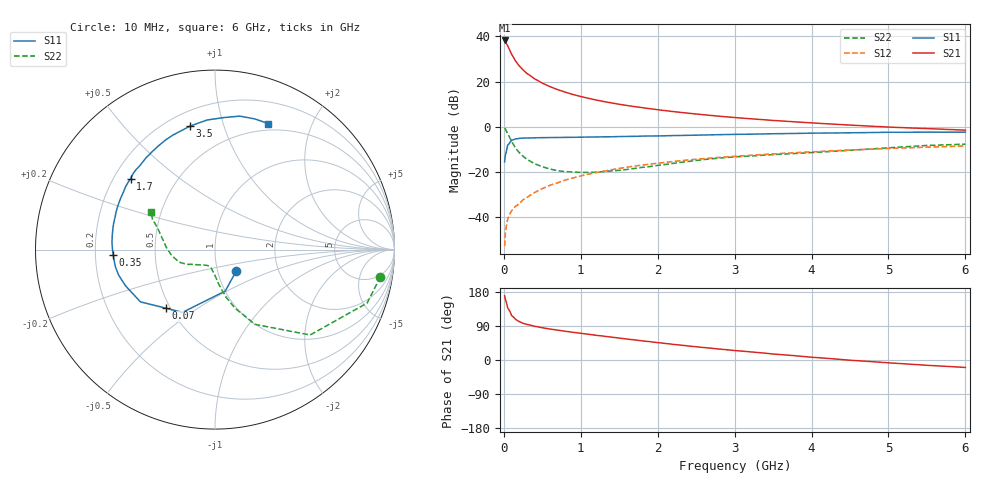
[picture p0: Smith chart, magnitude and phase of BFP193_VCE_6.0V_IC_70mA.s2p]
! (c) 2017  Infineon Technologies AG, Munich
! Infineon Technologies  Discrete & RF Semiconductors
! BFP193
! VCE =  6.0 V,  IC =  70 mA
! Common Emitter S-Parameters:  Jan 2017
# GHz  S  MA  R  50
!  f  S11  S21  S12  S22
! GHz  MAG  ANG  MAG  ANG  MAG  ANG  MAG  ANG
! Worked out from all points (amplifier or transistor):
!   77 points, 10 MHz to 6 GHz, reference 50 ohm
!   highest |S21| = 38.2 dB at 10 MHz (marker M1)
!   |S21| within 3 dB of that: start of sweep to 58.88 MHz
!   unconditionally stable (mu >= 1): 486.5 MHz to 2.371 GHz
!   at 130 MHz: K = 0.67, MSG = 33.2 dB, |S12| = -35.9 dB
!   at 2.2 GHz: K = 1.01, MAG = 10.5 dB, |S12| = -15.3 dB
!   at 6 GHz: K = 0.92, MSG = 3.5 dB, |S12| = -8.5 dB
!   S11 on the Smith chart (normalised r, x): 10 MHz: 1.22, -0.31; 70 MHz: 0.47, -0.38; 350 MHz: 0.28, -0.03; 1.7 GHz: 0.27, +0.34; 3.5 GHz: 0.29, +0.78; 6 GHz: 0.42, +1.42
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0.01  0.1687 -46.1  80.89 169.5  0.0023 82.1  0.9343 -9.3
0.02  0.238 -76.1  78.46 160.1  0.0044 85.6  0.8982 -19.4
0.05  0.3938 -117.4  61.4 137.4  0.0091 64.3  0.7123 -41.9
0.07  0.4266 -130.1  52.28 131.3  0.011 63.1  0.6086 -48.0
0.1  0.5074 -145.0  40.31 117.4  0.0138 62.0  0.4727 -61.8
0.15  0.5375 -157.9  28.8 107.5  0.0174 62.0  0.3427 -71.3
0.2  0.5548 -164.9  22.22 101.4  0.0199 64.7  0.2696 -77.1
0.25  0.5632 -170.2  18.01 96.9  0.0244 66.6  0.2234 -80.8
0.3  0.5654 -174.0  15.11 93.9  0.0274 67.0  0.1907 -84.2
0.35  0.5674 -176.8  13.28 91.7  0.0313 68.3  0.1714 -86.2
0.4  0.5707 -179.5  11.48 88.9  0.0352 69.4  0.1523 -88.7
0.5  0.5755 176.0  9.212 85.1  0.043 69.8  0.1308 -93.0
0.6  0.578 171.9  7.72 81.7  0.0512 70.4  0.1167 -97.4
0.8  0.5834 165.5  5.813 75.8  0.0667 70.2  0.1023 -104.2
1.1  0.5931 156.3  4.255 67.9  0.0899 67.4  0.0982 -114.9
1.7  0.6147 139.9  2.791 53.0  0.1356 60.7  0.1203 -135.0
2.1  0.6328 129.5  2.275 43.7  0.1638 55.6  0.1474 -145.7
3.1  0.6829 108.4  1.554 23.4  0.2281 42.7  0.221 -164.8
3.5  0.7023 101.3  1.382 15.8  0.2516 38.2  0.2425 -171.8
4.1  0.7252 92.0  1.193 5.9  0.2848 30.9  0.2754 175.7
5.1  0.7566 78.2  0.971 -8.7  0.3362 19.2  0.3516 158.1
6  0.7618 67.1  0.843 -19.7  0.3768 9.1  0.413 149.8
